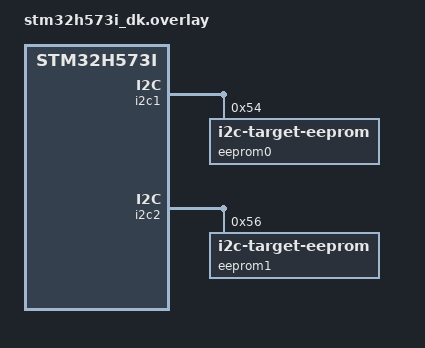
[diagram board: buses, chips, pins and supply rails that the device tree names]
/*
 * Copyright (c) 2024 Nordic Semiconductor ASA
 * SPDX-License-Identifier: Apache-2.0
 */

/* I2C bus pins are exposed on the ST morpho header.
 *
 *  Bus        SDA               SCL
 *          Pin   Hdr         Pin   Hdr
 *  i2c1    PB7   CN13:9      PB6   CN13:10
 *  i2c2    PB11  CN15:1      PB10  CN15:2
 *
 * Short Pin PB7 to PB11, and PB6 to PB10, for the test to pass.
 */

#define IC2_TEST_0_DMA_TX <&gpdma1 2 13 STM32_DMA_PERIPH_TX>
#define IC2_TEST_0_DMA_RX <&gpdma1 3 12 STM32_DMA_PERIPH_RX>

i2c_test_0: &i2c1 {
	dmas = IC2_TEST_0_DMA_TX, IC2_TEST_0_DMA_RX;
	dma-names = "tx", "rx";

	eeprom0: eeprom@54 {
		compatible = "zephyr,i2c-target-eeprom";
		reg = <0x54>;
		size = <256>;
	};
};

#define IC2_TEST_1_DMA_TX <&gpdma1 0 16 STM32_DMA_PERIPH_TX>
#define IC2_TEST_1_DMA_RX <&gpdma1 1 15 STM32_DMA_PERIPH_RX>

i2c_test_1: &i2c2 {
	dmas = IC2_TEST_1_DMA_TX, IC2_TEST_1_DMA_RX;
	dma-names = "tx", "rx";

	eeprom1: eeprom@56 {
		compatible = "zephyr,i2c-target-eeprom";
		reg = <0x56>;
		size = <256>;
	};
};
